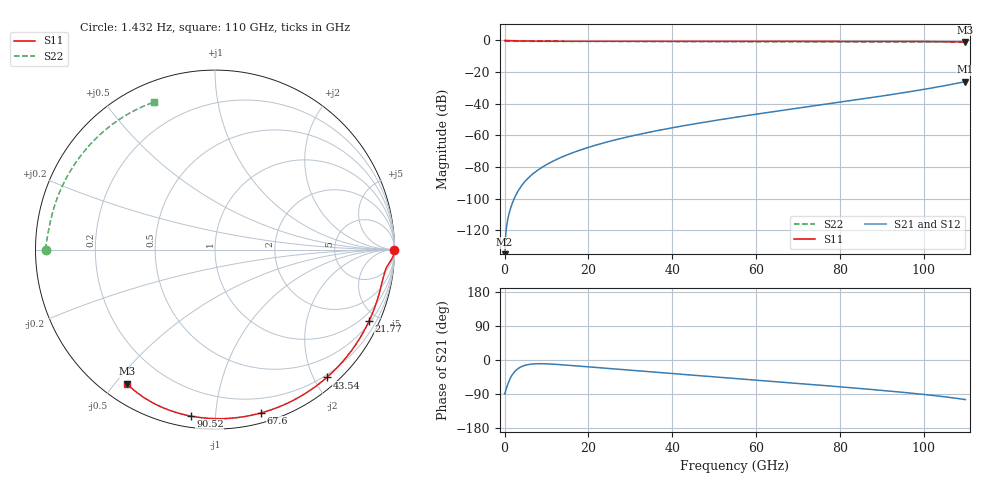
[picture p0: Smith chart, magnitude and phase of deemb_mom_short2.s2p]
! Created Tue Apr 13 08:48:13 2010
# hz S ma R 50
! 2 Port Network Data from data block
! freq  magS11  angS11  magS21  angS21  magS12  angS12  magS22  angS22
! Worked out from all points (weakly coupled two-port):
!   148 points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, 1.432 Hz to 110 GHz, reference 50 ohm
!   highest |S21| = -26.00 dB at 110 GHz (marker M1); lowest = -188.3 dB at 143.2 kHz (marker M2)
!   lowest |S11| = -1.0 dB at 110 GHz (marker M3), VSWR 17.82, Z = 3.62 - j26.8 ohm
!   |S11| at or under -10 dB: nowhere
!   |S22| runs from -1.0 to -0.5 dB; largest |S21 - S12| = 0
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1.432292  1 -0.0  3.862e-15 -89.0  3.862e-15 -89.0  0.9425 180.0
143229.2  1 -0.0  3.859e-10 -90.0  3.859e-10 -90.0  0.9425 180.0
2.148438e9  0.9767 -4.0  9.107e-06 -34.0  9.107e-06 -34.0  0.9416 178.6
8.59375e9  0.9493 -10.6  9.191e-05 -9.7  9.191e-05 -9.7  0.9351 174.7
9.166667e9  0.9489 -11.3  0.0001027 -9.8  0.0001027 -9.8  0.9346 174.4
1.145833e10  0.9476 -13.7  0.0001513 -10.9  0.0001513 -10.9  0.933 173.1
1.375e10  0.9469 -16.2  0.0002092 -12.6  0.0002092 -12.6  0.9317 171.8
1.604167e10  0.9465 -18.7  0.0002769 -14.6  0.0002769 -14.6  0.9306 170.5
1.947917e10  0.9462 -22.5  0.0003981 -17.6  0.0003981 -17.6  0.9292 168.6
2.177083e10  0.9461 -25.0  0.0004929 -19.7  0.0004929 -19.7  0.9283 167.3
2.864583e10  0.946 -32.6  0.0008516 -25.8  0.0008516 -25.8  0.9256 163.4
3.666667e10  0.9462 -41.4  0.001435 -32.9  0.001435 -32.9  0.9225 158.8
4.354167e10  0.9463 -48.8  0.002109 -38.8  0.002109 -38.8  0.9197 154.8
5.614583e10  0.9464 -62.2  0.003919 -49.7  0.003919 -49.7  0.9145 147.4
6.760417e10  0.9456 -74.2  0.006536 -59.7  0.006536 -59.7  0.9098 140.5
7.447917e10  0.9445 -81.3  0.008802 -65.7  0.008802 -65.7  0.907 136.3
8.25e10  0.942 -89.7  0.01248 -73.0  0.01248 -73.0  0.9035 131.3
9.052083e10  0.9373 -98.3  0.01789 -80.7  0.01789 -80.7  0.8998 126.1
9.166667e10  0.9363 -99.6  0.01887 -81.8  0.01887 -81.8  0.8993 125.3
1.015972e11  0.9228 -111.3  0.03085 -92.7  0.03085 -92.7  0.8944 118.6
1.061806e11  0.9104 -117.5  0.03976 -98.6  0.03976 -98.6  0.8918 115.4
1.1e11  0.8937 -123.3  0.0501 -104.4  0.0501 -104.4  0.8892 112.6
